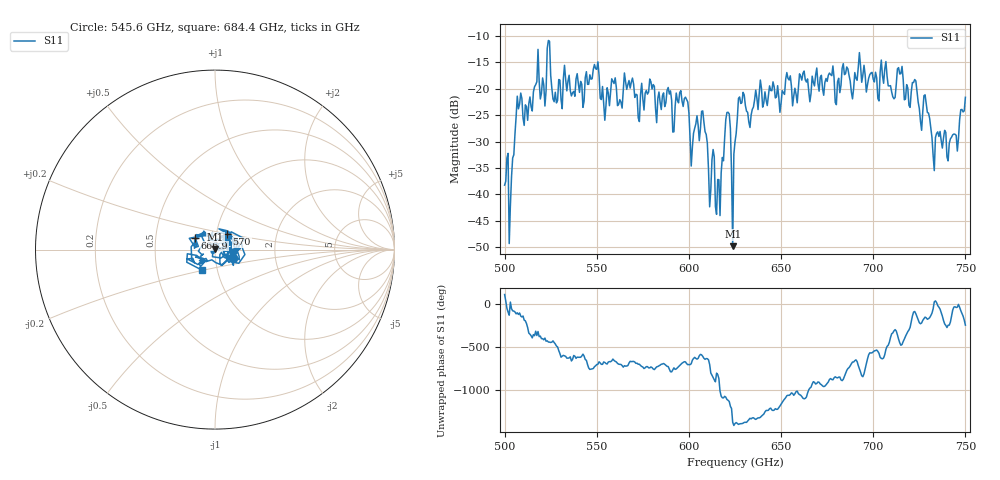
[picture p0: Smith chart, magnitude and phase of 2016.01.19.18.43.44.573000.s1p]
!Created with skrf (http://scikit-rf.org).
# GHz S RI R 50.0
!freq ReS11 ImS11
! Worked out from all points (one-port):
!   401 points, 500 GHz to 750 GHz, reference 50 ohm
!   lowest |S11| = -49.8 dB at 623.8 GHz (marker M1), VSWR 1.01, Z = 50.1 + j0.295 ohm
!   |S11| at or under -10 dB: start of sweep to end of sweep
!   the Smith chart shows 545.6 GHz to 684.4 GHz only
!   S11 on the Smith chart (normalised r, x): 545.6 GHz: 1.22, -0.11; 570 GHz: 1.13, +0.20; 666.9 GHz: 0.79, +0.11; 684.4 GHz: 0.84, -0.20
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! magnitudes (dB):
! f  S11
! 500 GHz  -38.2
! 503.8 GHz  -36.7
! 508.1 GHz  -23.0
! 520.6 GHz  -18.0
! 524.4 GHz  -11.1
! 526.9 GHz  -22.5
! 531.2 GHz  -23.8
! 545.6 GHz  -19.2
! 562.5 GHz  -22.1
! 570 GHz  -19.2
! 593.8 GHz  -22.2
! 598.8 GHz  -22.1
! 601.9 GHz  -31.1
! 608.1 GHz  -26.3
! 615.6 GHz  -37.2
! 620.6 GHz  -24.5
! 623.8 GHz  -49.8
! 625 GHz  -30.1
! 628.1 GHz  -22.8
! 656.2 GHz  -23.3
! 666.9 GHz  -17.7
! 684.4 GHz  -17.4
! 687.5 GHz  -18.6
! 714.4 GHz  -17.2
! 718.8 GHz  -19.9
! 728.8 GHz  -22.9
! 733.1 GHz  -35.5
! 750 GHz  -21.6
